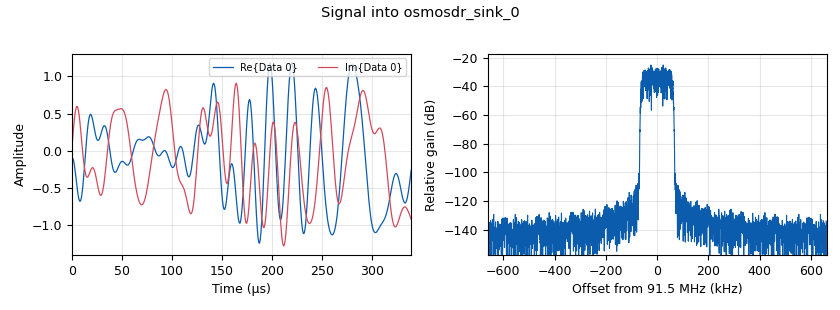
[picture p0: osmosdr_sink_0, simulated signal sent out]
options:
  parameters:
    category: Custom
    generate_options: qt_gui
    id: hackrfTransmit
    output_language: python
    realtime_scheduling: '1'
  states: {}

blocks:
- name: Audio_Rate
  id: variable_qtgui_range
  parameters:
    label: Audio Rate
    rangeType: int
    start: '0'
    step: '1'
    stop: '10000000'
    value: '44100'
  states: {}
- name: audio_samp
  id: variable
  parameters:
    value: Audio_Rate
  states: {}
- name: decimation
  id: variable_qtgui_range
  parameters:
    label: decimation
    rangeType: int
    start: '0'
    step: '1'
    stop: '100'
    value: '1'
  states: {}
- name: freq
  id: variable
  parameters:
    value: freq_sldr
  states: {}
- name: freq_sldr
  id: variable_qtgui_range
  parameters:
    label: Frequency Slider
    start: '0'
    step: '1'
    stop: 4000.0e6
    value: 91.5e6
  states: {}
- name: interpolation
  id: variable_qtgui_range
  parameters:
    label: Rational Resampler
    rangeType: int
    start: '0'
    step: '1'
    stop: '100'
    value: '10'
  states: {}
- name: quad_rate
  id: variable
  parameters:
    value: audio_samp*3
  states: {}
- name: samp_rate
  id: variable
  parameters:
    comment: |-
      1.323M
      1.03M is lowest
    value: samp_rate_sldr
  states: {}
- name: samp_rate_sldr
  id: variable_qtgui_range
  parameters:
    label: Sample Rate Slider
    start: '0'
    step: '1'
    stop: 6.00e6
    value: 1.323e6
  states: {}
- name: analog_sig_source_x_0_0
  id: analog_sig_source_x
  parameters:
    amp: '.8'
    freq: '600'
    offset: '0'
    phase: '0'
    samp_rate: '48000'
    type: float
    waveform: analog.GR_SIN_WAVE
  states: {}
- name: analog_sig_source_x_0_0_0
  id: analog_sig_source_x
  parameters:
    amp: '.8'
    freq: '1000'
    offset: '0'
    phase: '0'
    samp_rate: '48000'
    type: float
    waveform: analog.GR_SIN_WAVE
  states: {}
- name: analog_sig_source_x_1
  id: analog_sig_source_x
  parameters:
    amp: '1'
    freq: '1'
    offset: '0'
    phase: '0'
    samp_rate: '48000'
    type: float
    waveform: analog.GR_SQR_WAVE
  states: {}
- name: analog_wfm_tx_0
  id: analog_wfm_tx
  parameters:
    audio_rate: audio_samp
    fh: '-1.0'
    max_dev: 75e3
    quad_rate: quad_rate
    tau: '75e-6'
  states: {}
- name: blocks_abs_xx_0
  id: blocks_abs_xx
  parameters:
    type: float
  states: {}
- name: blocks_add_const_vxx_0
  id: blocks_add_const_vxx
  parameters:
    const: '-1'
    type: float
  states: {}
- name: blocks_add_xx_0
  id: blocks_add_xx
  parameters:
    type: float
  states: {}
- name: blocks_multiply_xx_0
  id: blocks_multiply_xx
  parameters:
    type: float
  states: {}
- name: blocks_multiply_xx_0_0
  id: blocks_multiply_xx
  parameters:
    type: float
  states: {}
- name: osmosdr_sink_0
  id: osmosdr_sink
  parameters:
    args: ''
    bb_gain0: '0'
    freq0: freq
    gain0: '14'
    if_gain0: '47'
    sample_rate: samp_rate
    sync: sync
    type: fc32
  states: {}
- name: qtgui_sink_x_0
  id: qtgui_sink_x
  parameters:
    bw: samp_rate
    fc: freq
    fftsize: '1024'
    showports: 'True'
    type: complex
  states: {state: disabled}
- name: rational_resampler_xxx_0
  id: rational_resampler_xxx
  parameters:
    comment: |-
      Interpolation 10
      8 Is our current with 1.03M
    decim: decimation
    interp: interpolation
    taps: ''
    type: ccc
  states: {}

connections:
- [analog_sig_source_x_0_0, '0', blocks_multiply_xx_0, '0']
- [analog_sig_source_x_0_0_0, '0', blocks_multiply_xx_0_0, '0']
- [analog_sig_source_x_1, '0', blocks_add_const_vxx_0, '0']
- [analog_sig_source_x_1, '0', blocks_multiply_xx_0, '1']
- [analog_wfm_tx_0, '0', rational_resampler_xxx_0, '0']
- [blocks_abs_xx_0, '0', blocks_multiply_xx_0_0, '1']
- [blocks_add_const_vxx_0, '0', blocks_abs_xx_0, '0']
- [blocks_add_xx_0, '0', analog_wfm_tx_0, '0']
- [blocks_multiply_xx_0, '0', blocks_add_xx_0, '0']
- [blocks_multiply_xx_0_0, '0', blocks_add_xx_0, '1']
- [rational_resampler_xxx_0, '0', osmosdr_sink_0, '0']
- [rational_resampler_xxx_0, '0', qtgui_sink_x_0, '0']

metadata:
  file_format: 1
